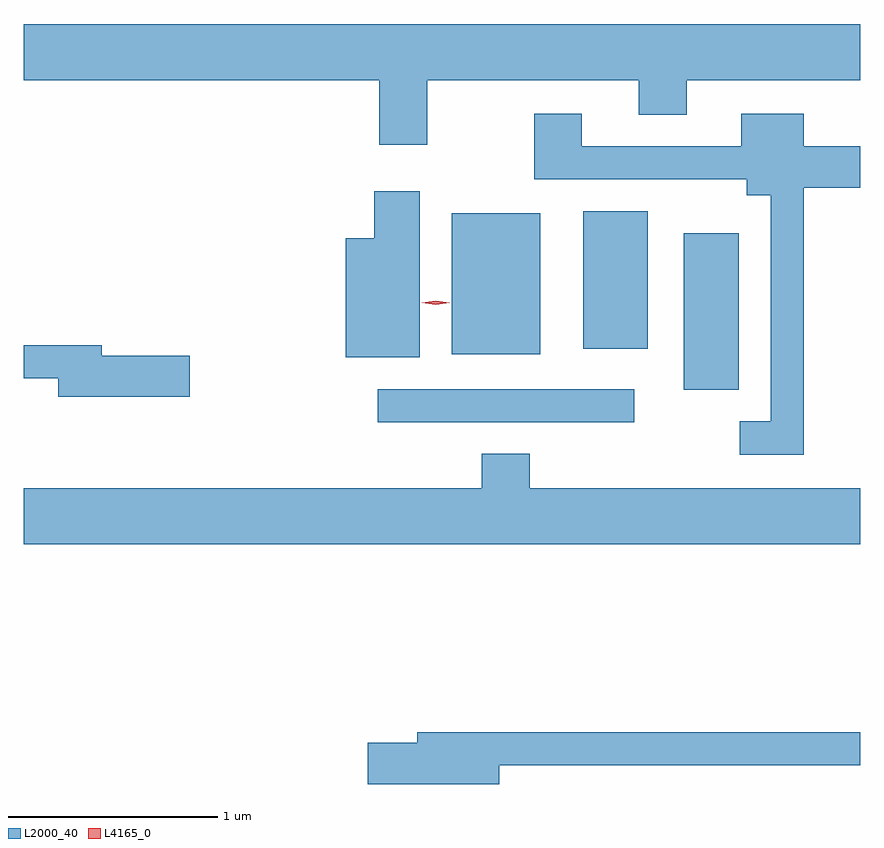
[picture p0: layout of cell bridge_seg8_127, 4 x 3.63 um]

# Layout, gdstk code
import gdstk
lib = gdstk.Library(unit=1e-6, precision=1e-09)
def R(c, l, rs):  # rectangles x0, y0, x1, y1
    for r in rs: c.add(gdstk.rectangle(r[:2], r[2:], *l))
def P(c, l, *ps):  # polygons
    for p in ps: c.add(gdstk.Polygon(p, *l))
L2000_40 = (2000, 40)
L4165_0 = (4165, 0)

bridge_seg8_127 = lib.new_cell('bridge_seg8_127')
R(bridge_seg8_127, L2000_40, [(1790.773,1823.681,1791.998,1823.839), (1792.236,1823.836,1792.499,1824.584), (1791.126,1824.006,1791.549,1824.679), (1791.756,1824.031,1792.064,1824.689)])
P(bridge_seg8_127, L2000_40, [(1791.009,1825.316),(1792.021,1825.316),(1792.021,1825.151),(1792.249,1825.151),(1792.249,1825.316),(1793.08,1825.316),(1793.08,1825.584),(1789.08,1825.584),(1789.08,1825.316),(1790.781,1825.316),(1790.781,1825.006),(1791.009,1825.006)],
  [(1792.809,1824.801),(1793.08,1824.801),(1793.08,1824.999),(1792.809,1824.999),(1792.809,1825.154),(1792.511,1825.154),(1792.511,1824.999),(1791.749,1824.999),(1791.749,1825.154),(1791.521,1825.154),(1791.521,1824.841),(1792.536,1824.841),(1792.536,1824.766),(1792.651,1824.766),(1792.651,1823.684),(1792.503,1823.684),(1792.503,1823.526),(1792.809,1823.526)],
  [(1790.974,1824.784),(1790.756,1824.784),(1790.756,1824.559),(1790.621,1824.559),(1790.621,1823.991),(1790.974,1823.991)],
  [(1789.874,1823.999),(1789.454,1823.999),(1789.454,1824.049),(1789.08,1824.049),(1789.08,1823.891),(1789.246,1823.891),(1789.246,1823.801),(1789.874,1823.801)],
  [(1793.08,1823.364),(1791.499,1823.364),(1791.499,1823.529),(1791.271,1823.529),(1791.271,1823.364),(1789.08,1823.364),(1789.08,1823.096),(1793.08,1823.096)],
  [(1791.354,1822.041),(1793.08,1822.041),(1793.08,1822.199),(1790.961,1822.199),(1790.961,1822.149),(1790.726,1822.149),(1790.726,1821.951),(1791.354,1821.951)])
P(bridge_seg8_127, L4165_0, [(1791.049,1824.241),(1790.983,1824.251),(1790.983,1824.251),(1790.983,1824.252),(1791.049,1824.261),(1791.116,1824.252),(1791.116,1824.251),(1791.116,1824.251)])

lib.write_gds('bridge_seg8_127.gds')
